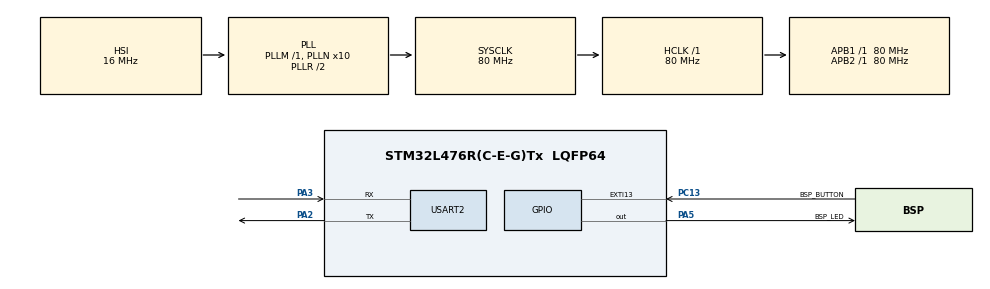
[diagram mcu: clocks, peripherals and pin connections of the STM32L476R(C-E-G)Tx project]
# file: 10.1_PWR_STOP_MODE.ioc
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Mcu.Family=STM32L4
Mcu.Name=STM32L476R(C-E-G)Tx
Mcu.Package=LQFP64
NVIC.EXTI15_10_IRQn=true\:0\:0\:false\:false\:true\:true\:true\:true
NVIC.PriorityGroup=NVIC_PRIORITYGROUP_4
NVIC.RTC_WKUP_IRQn=true\:0\:0\:false\:false\:true\:true\:true\:true
PA13\ (JTMS-SWDIO).Mode=Serial_Wire
PA13\ (JTMS-SWDIO).Signal=SYS_JTMS-SWDIO
PA14\ (JTCK-SWCLK).Mode=Serial_Wire
PA14\ (JTCK-SWCLK).Signal=SYS_JTCK-SWCLK
PA2.Mode=Asynchronous
PA2.Signal=USART2_TX
PA3.Mode=Asynchronous
PA3.Signal=USART2_RX
PA5.GPIO_Label=BSP_LED
PA5.Signal=GPIO_Output
PC13.GPIO_Label=BSP_BUTTON
PC13.Signal=GPXTI13
PH0-OSC_IN\ (PH0).Mode=HSE-External-Oscillator
PH0-OSC_IN\ (PH0).Signal=RCC_OSC_IN
PH1-OSC_OUT\ (PH1).Mode=HSE-External-Oscillator
PH1-OSC_OUT\ (PH1).Signal=RCC_OSC_OUT
ProjectManager.HeapSize=0x200
ProjectManager.StackSize=0x400
ProjectManager.TargetToolchain=STM32CubeIDE
RCC.ADCFreq_Value=64000000
RCC.AHBFreq_Value=80000000
RCC.APB1Freq_Value=80000000
RCC.APB1TimFreq_Value=80000000
RCC.APB2Freq_Value=80000000
RCC.APB2TimFreq_Value=80000000
RCC.CortexFreq_Value=80000000
RCC.HCLKFreq_Value=80000000
RCC.HSE_VALUE=16000000
RCC.HSI_VALUE=16000000
RCC.MSI_VALUE=4000000
RCC.PLLN=10
RCC.PLLSourceVirtual=RCC_PLLSOURCE_HSI
RCC.PREFETCH_ENABLE=1
RCC.SYSCLKFreq_VALUE=80000000
RCC.SYSCLKSource=RCC_SYSCLKSOURCE_PLLCLK
RCC.USBFreq_Value=64000000
RCC.VCOOutputFreq_Value=160000000
USART2.VirtualMode-Asynchronous=VM_ASYNC
VP_RTC_VS_RTC_Activate.Mode=RTC_Enabled
VP_RTC_VS_RTC_WakeUp_intern.Mode=WakeUp
board=NUCLEO-L476RG

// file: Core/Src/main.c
/* USER CODE BEGIN Header */
/**
  ******************************************************************************
  * @file           : main.c
  * @brief          : Main program body
  ******************************************************************************
  * @attention
  *
  * Copyright (c) 2024 STMicroelectronics.
  * All rights reserved.
  *
  * This software is licensed under terms that can be found in the LICENSE file
  * in the root directory of this software component.
  * If no LICENSE file comes with this software, it is provided AS-IS.
  *
  ******************************************************************************
  */
/* USER CODE END Header */
#include "main.h"

/* USER CODE BEGIN Includes */
#include <stdio.h>
#include <string.h>
/* USER CODE END Includes */

RTC_HandleTypeDef hrtc;

UART_HandleTypeDef huart2;

void SystemClock_Config(void);
static void MX_GPIO_Init(void);
static void MX_USART2_UART_Init(void);
static void MX_RTC_Init(void);

/* USER CODE BEGIN 0 */
void HAL_RTCEx_WakeUpTimerEventCallback(RTC_HandleTypeDef *hrtc)
{
	SystemClock_Config ();
	HAL_ResumeTick();
	char *str = "WAKEUP FROM RTC\n NOW GOING IN STOP MODE AGAIN\n\n";
	HAL_UART_Transmit(&huart2, (uint8_t *) str, strlen (str), HAL_MAX_DELAY);

}

void HAL_GPIO_EXTI_Callback(uint16_t GPIO_Pin)
{
  if(GPIO_Pin == GPIO_PIN_13)
  {
	  SystemClock_Config ();
	  HAL_ResumeTick();
	  char *str = "WAKEUP FROM EXTII\n\n";
	  HAL_UART_Transmit(&huart2, (uint8_t *) str, strlen (str), HAL_MAX_DELAY);
	  HAL_PWR_DisableSleepOnExit();
  }
}
/* USER CODE END 0 */

int main(void)
{

  /* MCU Configuration--------------------------------------------------------*/

  /* Reset of all peripherals, Initializes the Flash interface and the Systick. */
  HAL_Init();

  /* Configure the system clock */
  SystemClock_Config();

  /* Initialize all configured peripherals */
  MX_GPIO_Init();
  MX_USART2_UART_Init();
  MX_RTC_Init();
  /* USER CODE BEGIN 2 */

  for(int i = 0; i < 20; i++){
	  HAL_GPIO_TogglePin(GPIOA, GPIO_PIN_5);
	  HAL_Delay(200);
  }

  printf("GO INTO THE STOP MODE\n\r");
		/*######## Configure the Wake up timer ################*/
		/*  RTC Wake-up Interrupt Generation:
		 Wake-up Time Base = (RTC_WAKEUPCLOCK_RTCCLK_DIV /(LSI))
		 ==> WakeUpCounter = Wake-up Time / Wake-up Time Base

		 To configure the wake up timer to 5s the WakeUpCounter is set to 0xA017:
		 RTC_WAKEUPCLOCK_RTCCLK_DIV = RTCCLK_Div16 = 16
		 Wake-up Time Base = 16 /(32KHz) = 0.0005 seconds
		 ==> WakeUpCounter = ~5s/0.0005s = 10000 = 0x2710 */

  if (HAL_RTCEx_SetWakeUpTimer_IT(&hrtc, 0x2710,RTC_WAKEUPCLOCK_RTCCLK_DIV16) != HAL_OK) {
			Error_Handler();
		}

  /** SUSPEND THE SYSTICK FOR THE STOP MODE**/
  HAL_SuspendTick();

  HAL_PWR_EnableSleepOnExit();

  /** ENTER THE STOP MODE**/
  HAL_PWR_EnterSTOPMode(PWR_LOWPOWERREGULATOR_ON, PWR_STOPENTRY_WFI);

  /**## WAKE-UP FROM STOP MODE ##**/

  HAL_RTCEx_DeactivateWakeUpTimer(&hrtc);

  for (int i=0; i<10; i++)
    {
    	  HAL_GPIO_TogglePin(GPIOA, GPIO_PIN_5);
    	  HAL_Delay(1000);
    }

  printf("WAKE-UP FROM STOP MODE IN MAIN LOOP\n\r");
  /* USER CODE END 2 */

  /* Infinite loop */
  while (1)
  {

  }
}

void SystemClock_Config(void)
{
  RCC_OscInitTypeDef RCC_OscInitStruct = {0};
  RCC_ClkInitTypeDef RCC_ClkInitStruct = {0};

  /** Configure the main internal regulator output voltage
  */
  if (HAL_PWREx_ControlVoltageScaling(PWR_REGULATOR_VOLTAGE_SCALE1) != HAL_OK)
  {
    Error_Handler();
  }

  /** Initializes the RCC Oscillators according to the specified parameters
  * in the RCC_OscInitTypeDef structure.
  */
  RCC_OscInitStruct.OscillatorType = RCC_OSCILLATORTYPE_HSI|RCC_OSCILLATORTYPE_LSI;
  RCC_OscInitStruct.HSIState = RCC_HSI_ON;
  RCC_OscInitStruct.HSICalibrationValue = RCC_HSICALIBRATION_DEFAULT;
  RCC_OscInitStruct.LSIState = RCC_LSI_ON;
  RCC_OscInitStruct.PLL.PLLState = RCC_PLL_ON;
  RCC_OscInitStruct.PLL.PLLSource = RCC_PLLSOURCE_HSI;
  RCC_OscInitStruct.PLL.PLLM = 1;
  RCC_OscInitStruct.PLL.PLLN = 10;
  RCC_OscInitStruct.PLL.PLLP = RCC_PLLP_DIV7;
  RCC_OscInitStruct.PLL.PLLQ = RCC_PLLQ_DIV2;
  RCC_OscInitStruct.PLL.PLLR = RCC_PLLR_DIV2;
  if (HAL_RCC_OscConfig(&RCC_OscInitStruct) != HAL_OK)
  {
    Error_Handler();
  }

  /** Initializes the CPU, AHB and APB buses clocks
  */
  RCC_ClkInitStruct.ClockType = RCC_CLOCKTYPE_HCLK|RCC_CLOCKTYPE_SYSCLK
                              |RCC_CLOCKTYPE_PCLK1|RCC_CLOCKTYPE_PCLK2;
  RCC_ClkInitStruct.SYSCLKSource = RCC_SYSCLKSOURCE_PLLCLK;
  RCC_ClkInitStruct.AHBCLKDivider = RCC_SYSCLK_DIV1;
  RCC_ClkInitStruct.APB1CLKDivider = RCC_HCLK_DIV1;
  RCC_ClkInitStruct.APB2CLKDivider = RCC_HCLK_DIV1;

  if (HAL_RCC_ClockConfig(&RCC_ClkInitStruct, FLASH_LATENCY_4) != HAL_OK)
  {
    Error_Handler();
  }
}

static void MX_RTC_Init(void)
{

  /** Initialize RTC Only
  */
  hrtc.Instance = RTC;
  hrtc.Init.HourFormat = RTC_HOURFORMAT_24;
  hrtc.Init.AsynchPrediv = 127;
  hrtc.Init.SynchPrediv = 255;
  hrtc.Init.OutPut = RTC_OUTPUT_DISABLE;
  hrtc.Init.OutPutRemap = RTC_OUTPUT_REMAP_NONE;
  hrtc.Init.OutPutPolarity = RTC_OUTPUT_POLARITY_HIGH;
  hrtc.Init.OutPutType = RTC_OUTPUT_TYPE_OPENDRAIN;
  if (HAL_RTC_Init(&hrtc) != HAL_OK)
  {
    Error_Handler();
  }

}

static void MX_USART2_UART_Init(void)
{

  huart2.Instance = USART2;
  huart2.Init.BaudRate = 115200;
  huart2.Init.WordLength = UART_WORDLENGTH_8B;
  huart2.Init.StopBits = UART_STOPBITS_1;
  huart2.Init.Parity = UART_PARITY_NONE;
  huart2.Init.Mode = UART_MODE_TX_RX;
  huart2.Init.HwFlowCtl = UART_HWCONTROL_NONE;
  huart2.Init.OverSampling = UART_OVERSAMPLING_16;
  huart2.Init.OneBitSampling = UART_ONE_BIT_SAMPLE_DISABLE;
  huart2.AdvancedInit.AdvFeatureInit = UART_ADVFEATURE_NO_INIT;
  if (HAL_UART_Init(&huart2) != HAL_OK)
  {
    Error_Handler();
  }

}

static void MX_GPIO_Init(void)
{
  GPIO_InitTypeDef GPIO_InitStruct = {0};

  /* GPIO Ports Clock Enable */
  __HAL_RCC_GPIOC_CLK_ENABLE();
  __HAL_RCC_GPIOH_CLK_ENABLE();
  __HAL_RCC_GPIOA_CLK_ENABLE();

  /*Configure GPIO pin Output Level */
  HAL_GPIO_WritePin(BSP_LED_GPIO_Port, BSP_LED_Pin, GPIO_PIN_RESET);

  /*Configure GPIO pin : BSP_BUTTON_Pin */
  GPIO_InitStruct.Pin = BSP_BUTTON_Pin;
  GPIO_InitStruct.Mode = GPIO_MODE_IT_RISING;
  GPIO_InitStruct.Pull = GPIO_NOPULL;
  HAL_GPIO_Init(BSP_BUTTON_GPIO_Port, &GPIO_InitStruct);

  /*Configure GPIO pin : BSP_LED_Pin */
  GPIO_InitStruct.Pin = BSP_LED_Pin;
  GPIO_InitStruct.Mode = GPIO_MODE_OUTPUT_PP;
  GPIO_InitStruct.Pull = GPIO_NOPULL;
  GPIO_InitStruct.Speed = GPIO_SPEED_FREQ_LOW;
  HAL_GPIO_Init(BSP_LED_GPIO_Port, &GPIO_InitStruct);

  /* EXTI interrupt init*/
  HAL_NVIC_SetPriority(EXTI15_10_IRQn, 0, 0);
  HAL_NVIC_EnableIRQ(EXTI15_10_IRQn);

}

void Error_Handler(void)
{
  __disable_irq();
  while (1)
  {
  }
}
